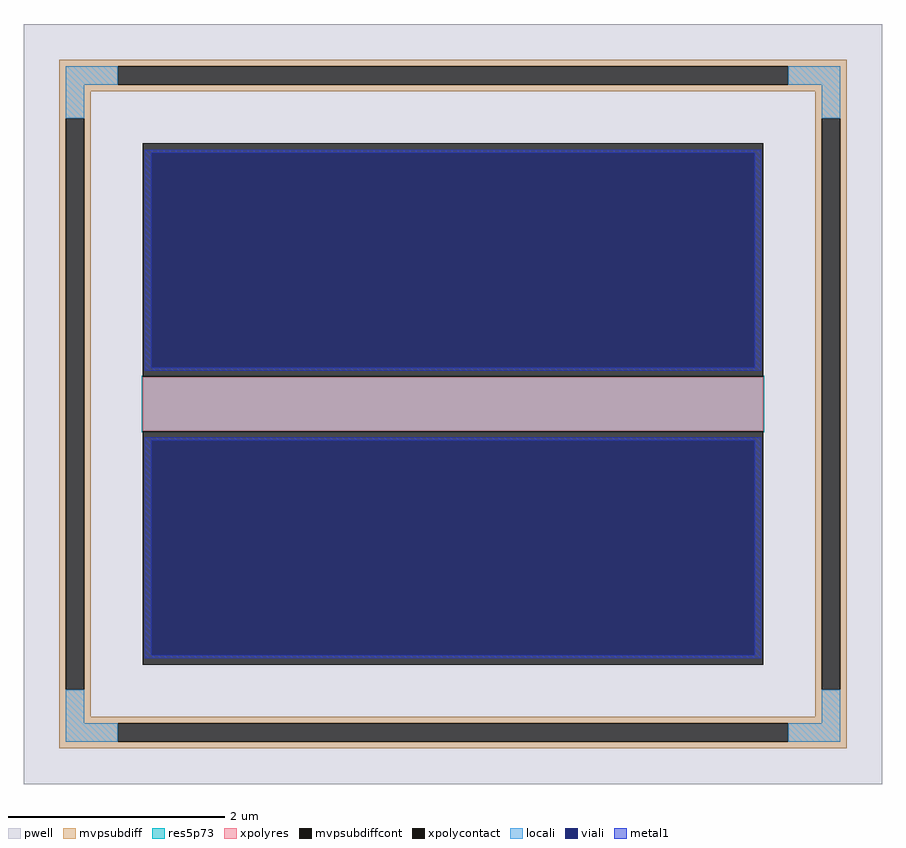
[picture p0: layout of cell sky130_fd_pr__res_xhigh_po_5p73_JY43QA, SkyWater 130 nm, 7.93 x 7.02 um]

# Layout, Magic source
magic
tech sky130A
magscale 1 2
<< pwell >>
rect -793 -702 793 702
<< mvpsubdiff >>
rect -727 624 727 636
rect -727 590 -619 624
rect 619 590 727 624
rect -727 578 727 590
rect -727 528 -669 578
rect -727 -528 -715 528
rect -681 -528 -669 528
rect 669 528 727 578
rect -727 -578 -669 -528
rect 669 -528 681 528
rect 715 -528 727 528
rect 669 -578 727 -528
rect -727 -590 727 -578
rect -727 -624 -619 -590
rect 619 -624 727 -590
rect -727 -636 727 -624
<< mvpsubdiffcont >>
rect -619 590 619 624
rect -715 -528 -681 528
rect 681 -528 715 528
rect -619 -624 619 -590
<< xpolycontact >>
rect -573 50 573 482
rect -573 -482 573 -50
<< xpolyres >>
rect -573 -50 573 50
<< locali >>
rect -715 590 -619 624
rect 619 590 715 624
rect -715 528 -681 590
rect 681 528 715 590
rect -715 -590 -681 -528
rect 681 -590 715 -528
rect -715 -624 -619 -590
rect 619 -624 715 -590
<< viali >>
rect -557 67 557 464
rect -557 -464 557 -67
<< metal1 >>
rect -569 464 569 470
rect -569 67 -557 464
rect 557 67 569 464
rect -569 61 569 67
rect -569 -67 569 -61
rect -569 -464 -557 -67
rect 557 -464 569 -67
rect -569 -470 569 -464
<< res5p73 >>
rect -575 -52 575 52
<< properties >>
string FIXED_BBOX -698 -607 698 607
string gencell sky130_fd_pr__res_xhigh_po_5p73
string library sky130
string parameters w 5.73 l 0.5 m 1 nx 1 wmin 5.730 lmin 0.50 rho 2000 val 240.209 dummy 0 dw 0.0 term 188.2 sterm 0.0 caplen 0 wmax 5.730 guard 1 glc 1 grc 1 gtc 1 gbc 1 compatible {sky130_fd_pr__res_xhigh_po_0p35  sky130_fd_pr__res_xhigh_po_0p69 sky130_fd_pr__res_xhigh_po_1p41  sky130_fd_pr__res_xhigh_po_2p85 sky130_fd_pr__res_xhigh_po_5p73} snake 0 full_metal 1 n_guard 0 hv_guard 1 vias 1 viagb 0 viagt 0 viagl 0 viagr 0
<< end >>
